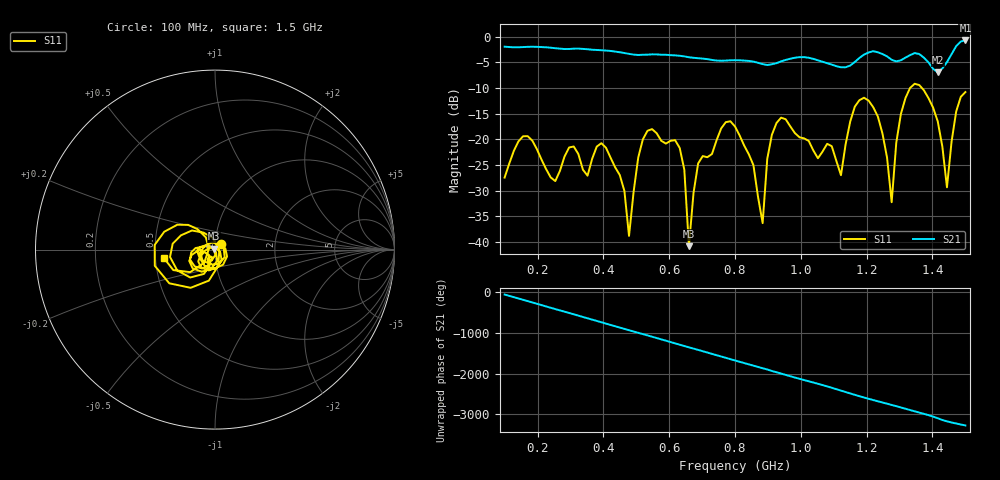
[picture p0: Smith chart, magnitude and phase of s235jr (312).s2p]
! NanoVNA-App
! Date: 2025-09-25 15:06:35
! Start: 100MHz Stop: 1,5GHz Points: 101
! S-Parameter data: F S11 S21 S12 S22
# Hz S RI R 50
!  Frequency  S11_Real  S11_Imag  S21_Real  S21_Imag  S12_Real  S12_Imag  S22_Real  S22_Imag
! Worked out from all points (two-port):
!   101 points, 100 MHz to 1.5 GHz, reference 50 ohm
!   highest |S21| = -0.75 dB at 1.5 GHz (marker M1); lowest = -7.0 dB at 1.416 GHz (marker M2)
!   |S21| within 3 dB of the highest: start of sweep to 634.1 MHz; 1.187 GHz to 1.259 GHz (72.18 MHz wide, 5.9 % of centre) (the widest 2 of 4)
!   lowest |S11| = -40.8 dB at 660 MHz (marker M3), VSWR 1.02, Z = 49.3 + j0.552 ohm
!   |S11| at or under -10 dB: start of sweep to 1.332 GHz; 1.368 GHz to end of sweep
!   S12 and S22 are empty: the file has one direction only
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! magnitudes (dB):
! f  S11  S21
! 100 MHz  -27.5  -2.0
! 156 MHz  -19.4  -2.0
! 338 MHz  -25.9  -2.4
! 408 MHz  -21.6  -2.7
! 478 MHz  -38.8  -3.4
! 520 MHz  -20.0  -3.5
! 576 MHz  -20.3  -3.5
! 632 MHz  -21.7  -3.7
! 660 MHz  -40.8  -4.0
! 688 MHz  -24.7  -4.2
! 800 MHz  -17.5  -4.6
! 884 MHz  -36.3  -5.4
! 926 MHz  -16.8  -5.2
! 1.038 GHz  -22.2  -4.3
! 1.122 GHz  -27.0  -6.0
! 1.164 GHz  -13.6  -4.9
! 1.206 GHz  -12.5  -3.1
! 1.276 GHz  -32.2  -4.5
! 1.332 GHz  -10.0  -3.6
! 1.416 GHz  -16.5  -7.0
! 1.444 GHz  -29.3  -5.0
! 1.5 GHz  -10.8  -0.8
